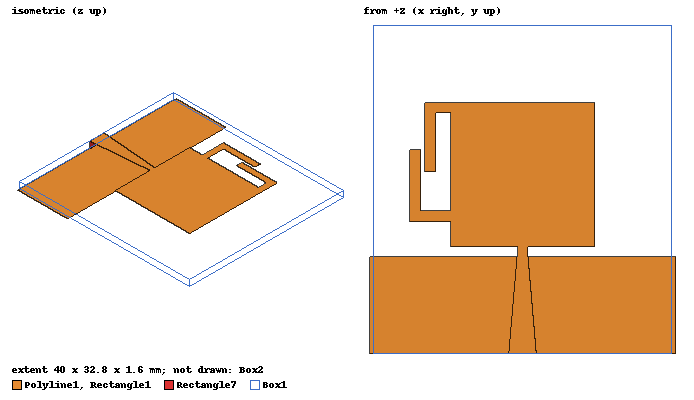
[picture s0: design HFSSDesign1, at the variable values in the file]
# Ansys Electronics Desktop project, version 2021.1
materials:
  vacuum: permittivity=1

design HFSSDesign1 (HFSS, DrivenModal, model units mm)
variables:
  wp = 18.8mm
  lp = 18.8mm
  lt = 14mm
  hs = 1.6mm
  alpha = 1.4mm
  w = 1.2mm
  wt = 3.6mm
  h1 = 3.373mm
  w0 = 1.4mm
  v1 = 7.6mm
  d1 = 4.6mm
  h2 = 5.335mm
  v2 = 7.955mm
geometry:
  Box1 [vacuum] = box(corner=(-wp/2-10mm, -lp/2-lt, 0mm), size=(wp+20mm, lt+lp+10mm, hs))
  Rectangle1 = rectangle(corner=(-wp/2-10.6mm, -lp/2-lt, 0mm), x_size=wp+21.2mm, y_size=lt-alpha)
  Box2 [vacuum] = box(corner=(-wp/2-25mm, -lp/2-lt-25mm, -25mm), size=(wp+45mm, lt+lp+45mm, 35mm))
  Rectangle2 = rectangle(corner=(-wp/2, -lp/2, hs), x_size=wp, y_size=lp)
  Polyline1 = polyline(z=hs, xy: (-w/2, -lp/2) (w/2, -lp/2) (wt/2, -lp/2-lt) (-wt/2, -lp/2-lt) (-w/2, -lp/2), closed, covered)
  Rectangle3 = rectangle(corner=(-wp/2, lp/2, hs), x_size=-h1, y_size=-w0)
  Rectangle4 = rectangle(corner=(-wp/2-h1, lp/2-w0, hs), x_size=w0, y_size=-v1)
  Rectangle5 = rectangle(corner=(-wp/2, -lp/2+d1, hs), x_size=-h2, y_size=-w0)
  Rectangle6 = rectangle(corner=(-wp/2-h2, -lp/2+d1, hs), x_size=w0, y_size=v2)
  Rectangle7 = rectangle(corner=(-wt/2, -lp/2-lt, 0mm), z_size=hs, x_size=wt)
  Polyline1.unite(Rectangle2..Rectangle6)
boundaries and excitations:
  PerfE1: Perfect E Objects=[Rectangle1, Polyline1]
  Rad1: Radiation Objects=Box2
  1: Lumped Port Objects=Rectangle7 Modes{Mode1{IntLine{middle of Rectangle7.edge(z at corner) -> Rectangle7.face} CharImp=Zpi RenormImp=50ohm}} Impedance=50ohm
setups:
  Setup1: HfssDriven MultipleAdaptiveFreqsSetup{Low=1GHz High=8GHz} MaxDeltaS=0.02 MaximumPasses=20 MinimumPasses=1 MinimumConvergedPasses=1 PercentRefinement=30 BasisOrder=1 PortAccuracy=2
    sweep Sweep: 1GHz to 8GHz step 0.01GHz; Type=Fast SaveFields
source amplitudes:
  1:1: 1W 0deg
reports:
  S Parameter Plot 1: dB(S(1,1)) vs Freq on Setup1 : Sweep
